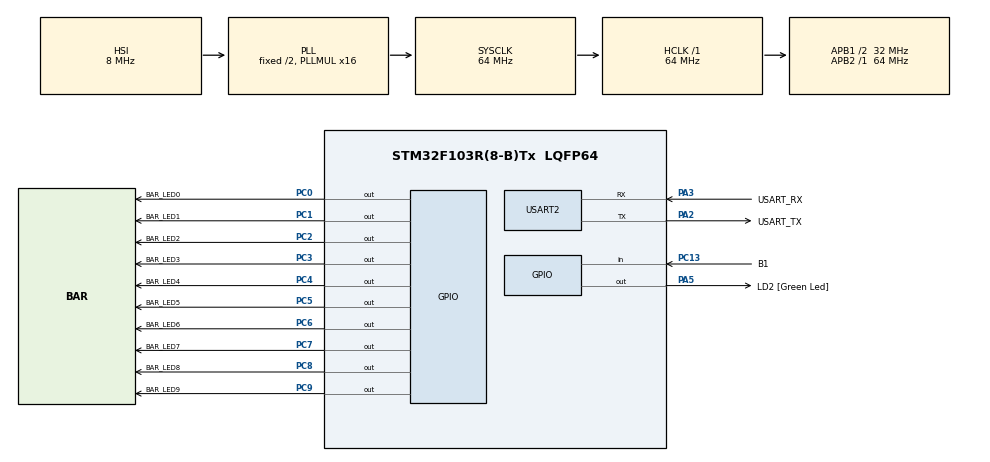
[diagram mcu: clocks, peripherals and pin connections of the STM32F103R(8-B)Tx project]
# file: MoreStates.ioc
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Mcu.Family=STM32F1
Mcu.Name=STM32F103R(8-B)Tx
Mcu.Package=LQFP64
NVIC.PriorityGroup=NVIC_PRIORITYGROUP_4
PA13.GPIO_Label=TMS
PA13.Mode=Serial_Wire
PA13.Signal=SYS_JTMS-SWDIO
PA14.GPIO_Label=TCK
PA14.Mode=Serial_Wire
PA14.Signal=SYS_JTCK-SWCLK
PA2.GPIO_Label=USART_TX
PA2.GPIO_Mode=GPIO_MODE_AF_PP
PA2.GPIO_PuPd=GPIO_NOPULL
PA2.GPIO_Speed=GPIO_SPEED_FREQ_LOW
PA2.Mode=Asynchronous
PA2.Signal=USART2_TX
PA3.GPIO_Label=USART_RX
PA3.GPIO_Mode=GPIO_MODE_AF_PP
PA3.GPIO_PuPd=GPIO_NOPULL
PA3.GPIO_Speed=GPIO_SPEED_FREQ_LOW
PA3.Mode=Asynchronous
PA3.Signal=USART2_RX
PA5.GPIO_Label=LD2 [Green Led]
PA5.GPIO_ModeDefaultOutputPP=GPIO_MODE_OUTPUT_PP
PA5.GPIO_PuPd=GPIO_NOPULL
PA5.GPIO_Speed=GPIO_SPEED_FREQ_LOW
PA5.Signal=GPIO_Output
PB3.GPIO_Label=SWO
PB3.Signal=SYS_JTDO-TRACESWO
PC0.GPIO_Label=BAR_LED0
PC0.Signal=GPIO_Output
PC1.GPIO_Label=BAR_LED1
PC1.Signal=GPIO_Output
PC13-TAMPER-RTC.GPIO_Label=B1
PC13-TAMPER-RTC.Signal=GPIO_Input
PC14-OSC32_IN.Mode=LSE-External-Oscillator
PC14-OSC32_IN.Signal=RCC_OSC32_IN
PC15-OSC32_OUT.Mode=LSE-External-Oscillator
PC15-OSC32_OUT.Signal=RCC_OSC32_OUT
PC2.GPIO_Label=BAR_LED2
PC2.Signal=GPIO_Output
PC3.GPIO_Label=BAR_LED3
PC3.Signal=GPIO_Output
PC4.GPIO_Label=BAR_LED4
PC4.Signal=GPIO_Output
PC5.GPIO_Label=BAR_LED5
PC5.Signal=GPIO_Output
PC6.GPIO_Label=BAR_LED6
PC6.Signal=GPIO_Output
PC7.GPIO_Label=BAR_LED7
PC7.Signal=GPIO_Output
PC8.GPIO_Label=BAR_LED8
PC8.Signal=GPIO_Output
PC9.GPIO_Label=BAR_LED9
PC9.Signal=GPIO_Output
PD0-OSC_IN.Mode=HSE-External-Clock-Source
PD0-OSC_IN.Signal=RCC_OSC_IN
PD1-OSC_OUT.Mode=HSE-External-Clock-Source
PD1-OSC_OUT.Signal=RCC_OSC_OUT
ProjectManager.HeapSize=0x200
ProjectManager.StackSize=0x400
ProjectManager.TargetToolchain=STM32CubeIDE
RCC.AHBFreq_Value=64000000
RCC.APB1CLKDivider=RCC_HCLK_DIV2
RCC.APB1Freq_Value=32000000
RCC.APB1TimFreq_Value=64000000
RCC.APB2Freq_Value=64000000
RCC.APB2TimFreq_Value=64000000
RCC.HCLKFreq_Value=64000000
RCC.PLLMUL=RCC_PLL_MUL16
RCC.RTCClockSelection=RCC_RTCCLKSOURCE_LSE
RCC.SYSCLKFreq_VALUE=64000000
RCC.SYSCLKSource=RCC_SYSCLKSOURCE_PLLCLK
RCC.USBFreq_Value=64000000
USART2.VirtualMode=VM_ASYNC
board=NUCLEO-F103RB

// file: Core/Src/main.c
/* USER CODE BEGIN Header */
/**
 ******************************************************************************
 * @file           : main.c
 * @brief          : Main program body
 ******************************************************************************
 * @attention
 *
 * Copyright (c) 2022 STMicroelectronics.
 * All rights reserved.
 *
 * This software is licensed under terms that can be found in the LICENSE file
 * in the root directory of this software component.
 * If no LICENSE file comes with this software, it is provided AS-IS.
 *
 ******************************************************************************
 */
/* USER CODE END Header */
#include "main.h"
#include "usart.h"
#include "gpio.h"

/* USER CODE BEGIN Includes */
#include "button.h" // Our buttons library
#include "barLed.h"
/* USER CODE END Includes */

/* USER CODE BEGIN PV */
TButton BlueKey; // "Object" for Blue button on Nucleo
TBar BarLed;
/* USER CODE END PV */

void SystemClock_Config(void);
/* USER CODE BEGIN PFP */
// Callback functions for button actions. Code in section USER CODE 4.
void TurnOnLed(void);
void TurnOffLed(void);
void ToggleLed(void);
void BarLedDown();
void BarLedUp();

/* USER CODE END PFP */

int main(void)
{

  /* MCU Configuration--------------------------------------------------------*/

  /* Reset of all peripherals, Initializes the Flash interface and the Systick. */
  HAL_Init();

  /* Configure the system clock */
  SystemClock_Config();

  /* Initialize all configured peripherals */
  MX_GPIO_Init();
  MX_USART2_UART_Init();
  /* USER CODE BEGIN 2 */
	ButtonInitKey(&BlueKey, B1_GPIO_Port, B1_Pin, 20, 1000, 250); // Init key machine state. Passed button "object", GPIO parameters and timers
	ButtonRegisterPressCallback(&BlueKey, TurnOnLed); // Register callback for button pressed action
	ButtonRegisterLongPressCallback(&BlueKey, TurnOffLed); // Register callback for button long press action
	ButtonRegisterRepeatCallback(&BlueKey, BarLedUp); // Register callback for button repeat action
	ButtonRegisterReleaseCallback(&BlueKey, BarLedDown); // Register callback for button release action
	BarLedInit(&BarLed, BAR_LED0_GPIO_Port, BAR_LED0_Pin, 10);	// Init bar led on PC0..PC9
	BarClear(&BarLed);

  /* USER CODE END 2 */

  /* Infinite loop */
  /* USER CODE BEGIN WHILE */
	while (1)
	{
		ButtonTask(&BlueKey); // Machine state task for button
    /* USER CODE END WHILE */

	}
}

void SystemClock_Config(void)
{
  RCC_OscInitTypeDef RCC_OscInitStruct = {0};
  RCC_ClkInitTypeDef RCC_ClkInitStruct = {0};

  /** Initializes the RCC Oscillators according to the specified parameters
  * in the RCC_OscInitTypeDef structure.
  */
  RCC_OscInitStruct.OscillatorType = RCC_OSCILLATORTYPE_HSI;
  RCC_OscInitStruct.HSIState = RCC_HSI_ON;
  RCC_OscInitStruct.HSICalibrationValue = RCC_HSICALIBRATION_DEFAULT;
  RCC_OscInitStruct.PLL.PLLState = RCC_PLL_ON;
  RCC_OscInitStruct.PLL.PLLSource = RCC_PLLSOURCE_HSI_DIV2;
  RCC_OscInitStruct.PLL.PLLMUL = RCC_PLL_MUL16;
  if (HAL_RCC_OscConfig(&RCC_OscInitStruct) != HAL_OK)
  {
    Error_Handler();
  }

  /** Initializes the CPU, AHB and APB buses clocks
  */
  RCC_ClkInitStruct.ClockType = RCC_CLOCKTYPE_HCLK|RCC_CLOCKTYPE_SYSCLK
                              |RCC_CLOCKTYPE_PCLK1|RCC_CLOCKTYPE_PCLK2;
  RCC_ClkInitStruct.SYSCLKSource = RCC_SYSCLKSOURCE_PLLCLK;
  RCC_ClkInitStruct.AHBCLKDivider = RCC_SYSCLK_DIV1;
  RCC_ClkInitStruct.APB1CLKDivider = RCC_HCLK_DIV2;
  RCC_ClkInitStruct.APB2CLKDivider = RCC_HCLK_DIV1;

  if (HAL_RCC_ClockConfig(&RCC_ClkInitStruct, FLASH_LATENCY_2) != HAL_OK)
  {
    Error_Handler();
  }
}

/* USER CODE BEGIN 4 */
void ToggleLed(void)
{
	HAL_GPIO_TogglePin(LD2_GPIO_Port, LD2_Pin); // Only toggle Pin
}

void TurnOnLed(void)
{
	HAL_GPIO_WritePin(LD2_GPIO_Port, LD2_Pin, GPIO_PIN_SET);
}

void TurnOffLed(void)
{
	HAL_GPIO_WritePin(LD2_GPIO_Port, LD2_Pin, GPIO_PIN_RESET);
}

void BarLedUp()
{
	BarUp(&BarLed);
}

void BarLedDown()
{
	BarDown(&BarLed);
}
/* USER CODE END 4 */

void Error_Handler(void)
{
	__disable_irq();
	while (1)
	{
	}
}
